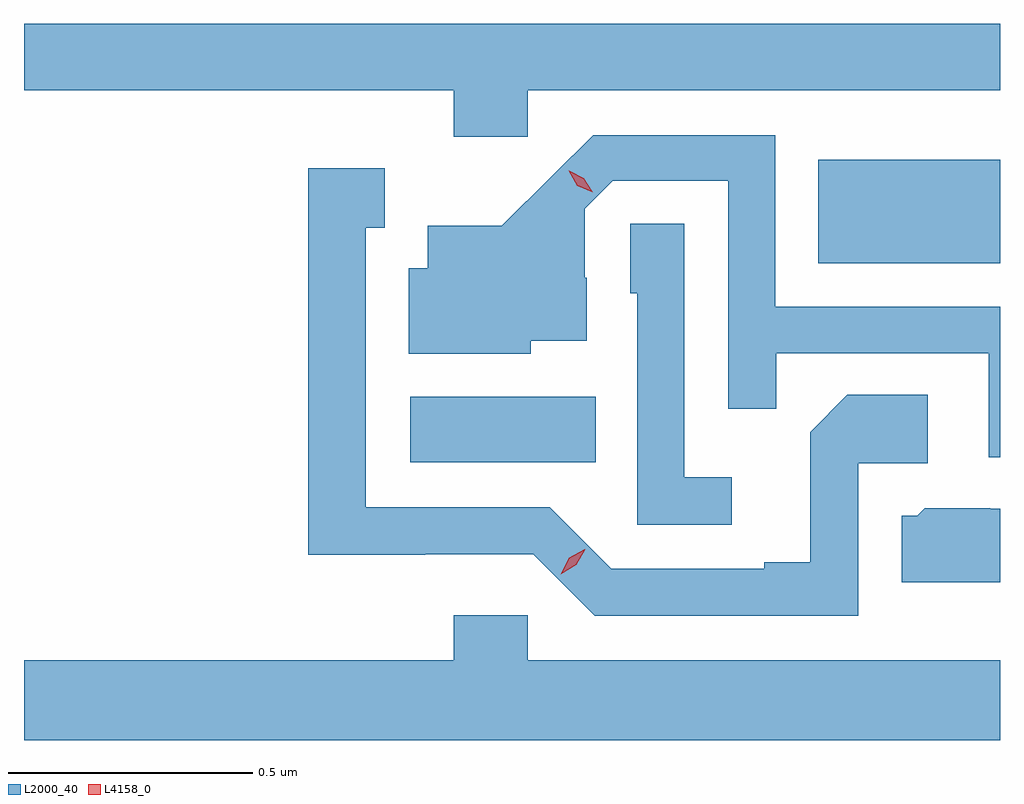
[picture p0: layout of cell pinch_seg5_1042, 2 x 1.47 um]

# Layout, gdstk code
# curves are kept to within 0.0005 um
import gdstk
lib = gdstk.Library(unit=1e-6, precision=1e-09)
def R(c, l, rs):  # rectangles x0, y0, x1, y1
    for r in rs: c.add(gdstk.rectangle(r[:2], r[2:], *l))
def P(c, l, *ps):  # polygons
    for p in ps: c.add(gdstk.Polygon(p, *l))
L2000_40 = (2000, 40)
L4158_0 = (4158, 0)

pinch_seg5_1042 = lib.new_cell('pinch_seg5_1042')
R(pinch_seg5_1042, L2000_40, [(722.79,844.01,723.17,844.144), (723.626,844.418,723.998,844.63)])
P(pinch_seg5_1042, L2000_40, [(723.03,844.772),(723.998,844.772),(723.998,844.909),(721.998,844.909),(721.998,844.772),(722.879,844.772),(722.879,844.677),(723.03,844.677)],
  [(723.998,844.329),(723.537,844.329),(723.537,844.68),(723.164,844.68),(722.977,844.495),(722.825,844.495),(722.825,844.408),(722.786,844.408),(722.786,844.232),(723.036,844.232),(723.036,844.259),(723.151,844.259),(723.151,844.388),(723.147,844.388),(723.147,844.53),(723.204,844.587),(723.441,844.587),(723.441,844.12),(723.539,844.12),(723.539,844.233),(723.975,844.233),(723.975,844.02),(723.998,844.02)],
  [(723.708,844.008),(723.85,844.008),(723.85,844.148),(723.685,844.148),(723.609,844.072),(723.609,843.805),(723.515,843.805),(723.515,843.792),(723.201,843.792),(723.075,843.918),(722.698,843.918),(722.698,844.491),(722.737,844.491),(722.737,844.612),(722.58,844.612),(722.58,843.821),(722.82,843.821),(722.82,843.822),(723.042,843.822),(723.168,843.696),(723.708,843.696)],
  [(723.448,843.979),(723.351,843.979),(723.351,844.499),(723.24,844.499),(723.24,844.356),(723.255,844.356),(723.255,843.882),(723.448,843.882)],
  [(723.998,843.915),(723.978,843.915),(723.978,843.916),(723.844,843.916),(723.828,843.9),(723.797,843.9),(723.797,843.764),(723.998,843.764)],
  [(723.998,843.604),(723.03,843.604),(723.03,843.697),(722.879,843.697),(722.879,843.604),(721.998,843.604),(721.998,843.44),(723.998,843.44)])
P(pinch_seg5_1042, L4158_0, [(723.163,844.563),(723.132,844.577),(723.114,844.607),(723.114,844.607),(723.115,844.607),(723.145,844.592),(723.163,844.563),(723.163,844.563)],
  [(723.098,843.781),(723.098,843.781),(723.115,843.814),(723.147,843.832),(723.148,843.832),(723.148,843.832),(723.13,843.8),(723.098,843.781)])

lib.write_gds('pinch_seg5_1042.gds')
